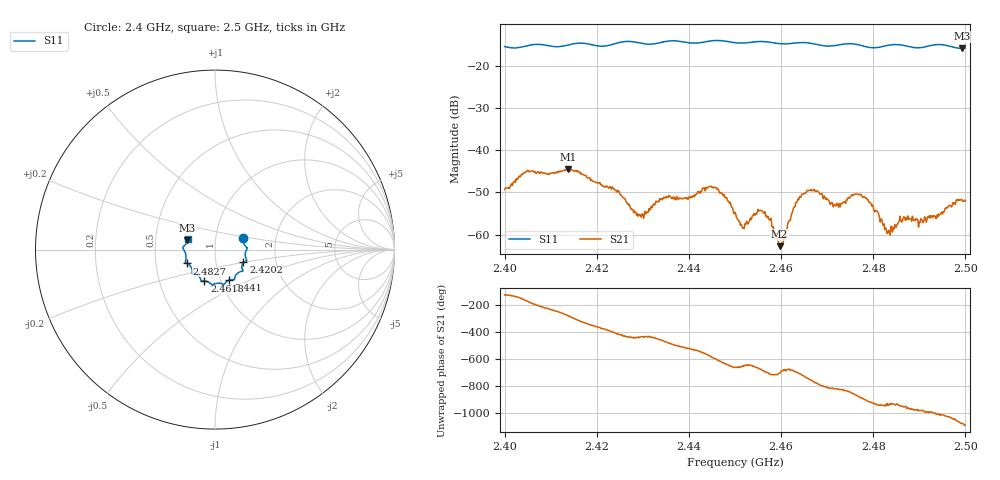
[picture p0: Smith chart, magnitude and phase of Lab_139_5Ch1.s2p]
# Hz S RI R 50
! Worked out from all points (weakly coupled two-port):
!   601 points, 2.4 GHz to 2.5 GHz, reference 50 ohm
!   highest |S21| = -44.41 dB at 2.4138 GHz (marker M1); lowest = -62.8 dB at 2.4597 GHz (marker M2)
!   lowest |S11| = -15.8 dB at 2.4993 GHz (marker M3), VSWR 1.39, Z = 36.5 + j3.84 ohm
!   |S11| at or under -10 dB: start of sweep to end of sweep
!   S12 and S22 are empty: the file has one direction only
!   S11 on the Smith chart (normalised r, x): 2.4 GHz: 1.36, +0.18; 2.4202 GHz: 1.36, -0.20; 2.441 GHz: 1.10, -0.39; 2.4618 GHz: 0.84, -0.30; 2.4827 GHz: 0.72, -0.12; 2.5 GHz: 0.73, +0.09
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2.4e9  0.1585 0.0629  -0.00199 -0.00278  0 0  0 0
2.404667e9  0.1726 0.0156  -0.00542 -0.00121  0 0  0 0
2.413833e9  0.1718 -0.0477  0.0013 0.00588  0 0  0 0
2.416667e9  0.177 -0.0611  0.00419 0.00301  0 0  0 0
2.420167e9  0.1586 -0.0712  0.00407 -0.00025  0 0  0 0
2.429167e9  0.1444 -0.1215  0.000205 -0.00169  0 0  0 0
2.433333e9  0.1115 -0.1508  -0.000156 -0.00247  0 0  0 0
2.441e9  0.0788 -0.1697  -0.00288 -0.000312  0 0  0 0
2.445667e9  0.0508 -0.1946  -0.00196 0.00309  0 0  0 0
2.45e9  0.0287 -0.1875  0.00102 0.00153  0 0  0 0
2.451667e9  0.0114 -0.1874  0.000451 0.0011  0 0  0 0
2.456e9  -0.0162 -0.1949  0.00157 0.00103  0 0  0 0
2.459667e9  -0.038 -0.1807  0.000705 0.000181  0 0  0 0
2.461833e9  -0.059 -0.1755  0.00106 0.00102  0 0  0 0
2.463667e9  -0.072 -0.1755  0.00253 0.00079  0 0  0 0
2.466667e9  -0.0788 -0.1684  0.00246 -0.00222  0 0  0 0
2.471833e9  -0.1118 -0.1358  -0.000406 -0.00215  0 0  0 0
2.4775e9  -0.1269 -0.1202  -0.00287 -0.000418  0 0  0 0
2.482667e9  -0.156 -0.0773  -0.000919 0.000789  0 0  0 0
2.483333e9  -0.1602 -0.0751  -0.000797 0.000797  0 0  0 0
2.499333e9  -0.1539 0.0513  0.00252 3.69e-06  0 0  0 0
2.5e9  -0.1523 0.0607  0.00244 -0.000611  0 0  0 0
